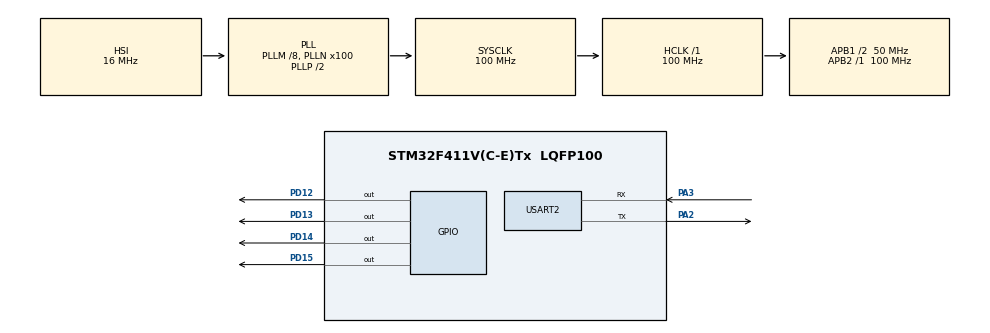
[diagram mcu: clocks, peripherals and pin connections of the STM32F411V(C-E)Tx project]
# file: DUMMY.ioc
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Mcu.Family=STM32F4
Mcu.Name=STM32F411V(C-E)Tx
Mcu.Package=LQFP100
NVIC.PriorityGroup=NVIC_PRIORITYGROUP_4
PA13.Mode=Serial_Wire
PA13.Signal=SYS_JTMS-SWDIO
PA14.Mode=Serial_Wire
PA14.Signal=SYS_JTCK-SWCLK
PA2.Mode=Asynchronous
PA2.Signal=USART2_TX
PA3.Mode=Asynchronous
PA3.Signal=USART2_RX
PD12.Signal=GPIO_Output
PD13.Signal=GPIO_Output
PD14.Signal=GPIO_Output
PD15.Signal=GPIO_Output
PH0\ -\ OSC_IN.Mode=HSE-External-Oscillator
PH0\ -\ OSC_IN.Signal=RCC_OSC_IN
PH1\ -\ OSC_OUT.Mode=HSE-External-Oscillator
PH1\ -\ OSC_OUT.Signal=RCC_OSC_OUT
ProjectManager.HeapSize=0x200
ProjectManager.StackSize=0x400
ProjectManager.TargetToolchain=CMake
RCC.48MHZClocksFreq_Value=50000000
RCC.AHBFreq_Value=100000000
RCC.APB1CLKDivider=RCC_HCLK_DIV2
RCC.APB1Freq_Value=50000000
RCC.APB1TimFreq_Value=100000000
RCC.APB2Freq_Value=100000000
RCC.APB2TimFreq_Value=100000000
RCC.CortexFreq_Value=100000000
RCC.HCLKFreq_Value=100000000
RCC.HSE_VALUE=8000000
RCC.HSI_VALUE=16000000
RCC.LSE_VALUE=32768
RCC.PLLM=4
RCC.PLLN=100
RCC.PLLSourceVirtual=RCC_PLLSOURCE_HSE
RCC.SYSCLKFreq_VALUE=100000000
RCC.SYSCLKSource=RCC_SYSCLKSOURCE_PLLCLK
RCC.VCOOutputFreq_Value=200000000
USART2.VirtualMode=VM_ASYNC
board=custom

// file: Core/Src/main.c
/* USER CODE BEGIN Header */
/**
  ******************************************************************************
  * @file           : main.c
  * @brief          : Main program body
  ******************************************************************************
  * @attention
  *
  * Copyright (c) 2026 STMicroelectronics.
  * All rights reserved.
  *
  * This software is licensed under terms that can be found in the LICENSE file
  * in the root directory of this software component.
  * If no LICENSE file comes with this software, it is provided AS-IS.
  *
  ******************************************************************************
  */
/* USER CODE END Header */
#include "main.h"
#include "usart.h"
#include "gpio.h"

/* USER CODE BEGIN Includes */
#include <stdio.h>
/* USER CODE END Includes */

/* USER CODE BEGIN PTD */
/**
 * @brief Cấu trúc App Header chứa siêu dữ liệu (metadata) của ứng dụng.
 *        Cấu trúc này được lưu trữ tại vùng nhớ HEADER.
 */
typedef struct {
    uint32_t MagicWord;      /*!< Từ khóa nhận dạng, bắt buộc phải là 0xDEADBEEF */
    uint32_t FirmwareSize;   /*!< Kích thước của tệp thực thi (byte) */
    uint32_t FirmwareCrc32;  /*!< Mã CRC32 kiểm tra tính toàn vẹn */
    uint32_t Version;        /*!< Phiên bản của ứng dụng */
} AppHeader_t;
/* USER CODE END PTD */

/* USER CODE BEGIN PV */
/**
 * @brief Khởi tạo App Header đặt tại vùng nhớ HEADER đặc biệt thông qua Linker Script.
 */
__attribute__((section(".app_header"), used))
const AppHeader_t g_app_header = {
    .MagicWord = 0xDEADBEEF,
    .FirmwareSize = 20000,    /* Kích thước giả định để vượt qua kiểm tra kích thước */
    .FirmwareCrc32 = 0,       /* Chưa kích hoạt tính năng kiểm tra CRC32 */
    .Version = 1              /* Phiên bản ứng dụng 1 */
};
/* USER CODE END PV */

void SystemClock_Config(void);

/* USER CODE BEGIN 0 */
#ifdef __GNUC__
#define PUTCHAR_PROTOTYPE int __io_putchar(int ch)
#else
#define PUTCHAR_PROTOTYPE int fputc(int ch, FILE *f)
#endif

PUTCHAR_PROTOTYPE
{
  /* Gửi ký tự qua cổng USART2 */
  HAL_UART_Transmit(&huart2, (uint8_t *)&ch, 1, 0xFFFF);
  return ch;
}
/* USER CODE END 0 */

int main(void)
{

  /* MCU Configuration--------------------------------------------------------*/

  /* Reset of all peripherals, Initializes the Flash interface and the Systick. */
  HAL_Init();

  /* Configure the system clock */
  SystemClock_Config();

  /* Initialize all configured peripherals */
  MX_GPIO_Init();
  MX_USART2_UART_Init();
  /* USER CODE BEGIN 2 */

  printf("\r\n====================================\r\n");
  printf("   DUMMY APPLICATION STARTED        \r\n");
  printf("   JUMPED FROM BOOTLOADER OK!       \r\n");
  printf("====================================\r\n");
  /* USER CODE END 2 */

  /* Infinite loop */
  /* USER CODE BEGIN WHILE */
  while (1)
  {
    /* Nháy LED PD13 (màu cam) và PD15 (màu xanh dương) để báo hiệu ứng dụng đang chạy */
    HAL_GPIO_TogglePin(GPIOD, GPIO_PIN_13 | GPIO_PIN_15);
    printf("[APP] Dummy application is running... ticks: %lu\r\n", HAL_GetTick());
    HAL_Delay(200); /* Chớp nhanh hơn so với Bootloader để tạo sự khác biệt rõ rệt */
    /* USER CODE END WHILE */

  }
}

void SystemClock_Config(void)
{
  RCC_OscInitTypeDef RCC_OscInitStruct = {0};
  RCC_ClkInitTypeDef RCC_ClkInitStruct = {0};

  /** Configure the main internal regulator output voltage
  */
  __HAL_RCC_PWR_CLK_ENABLE();
  __HAL_PWR_VOLTAGESCALING_CONFIG(PWR_REGULATOR_VOLTAGE_SCALE1);

  /** Initializes the RCC Oscillators according to the specified parameters
  * in the RCC_OscInitTypeDef structure.
  */
  RCC_OscInitStruct.OscillatorType = RCC_OSCILLATORTYPE_HSI;
  RCC_OscInitStruct.HSIState = RCC_HSI_ON;
  RCC_OscInitStruct.HSICalibrationValue = RCC_HSICALIBRATION_DEFAULT;
  RCC_OscInitStruct.PLL.PLLState = RCC_PLL_ON;
  RCC_OscInitStruct.PLL.PLLSource = RCC_PLLSOURCE_HSI;
  RCC_OscInitStruct.PLL.PLLM = 8;
  RCC_OscInitStruct.PLL.PLLN = 100;
  RCC_OscInitStruct.PLL.PLLP = RCC_PLLP_DIV2;
  RCC_OscInitStruct.PLL.PLLQ = 4;
  if (HAL_RCC_OscConfig(&RCC_OscInitStruct) != HAL_OK)
  {
    Error_Handler();
  }

  /** Initializes the CPU, AHB and APB buses clocks
  */
  RCC_ClkInitStruct.ClockType = RCC_CLOCKTYPE_HCLK|RCC_CLOCKTYPE_SYSCLK
                              |RCC_CLOCKTYPE_PCLK1|RCC_CLOCKTYPE_PCLK2;
  RCC_ClkInitStruct.SYSCLKSource = RCC_SYSCLKSOURCE_PLLCLK;
  RCC_ClkInitStruct.AHBCLKDivider = RCC_SYSCLK_DIV1;
  RCC_ClkInitStruct.APB1CLKDivider = RCC_HCLK_DIV2;
  RCC_ClkInitStruct.APB2CLKDivider = RCC_HCLK_DIV1;

  if (HAL_RCC_ClockConfig(&RCC_ClkInitStruct, FLASH_LATENCY_3) != HAL_OK)
  {
    Error_Handler();
  }
}

void Error_Handler(void)
{
  __disable_irq();
  while (1)
  {
  }
}
